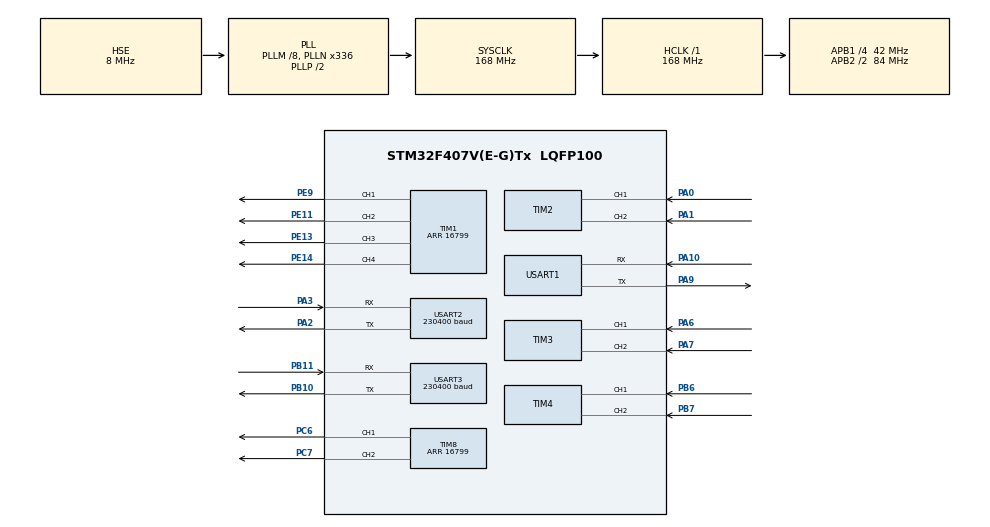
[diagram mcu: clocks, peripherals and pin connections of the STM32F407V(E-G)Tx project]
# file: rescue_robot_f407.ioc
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Dma.Request0=USART2_RX
Dma.Request1=USART3_RX
Dma.USART2_RX.0.Direction=DMA_PERIPH_TO_MEMORY
Dma.USART2_RX.0.FIFOMode=DMA_FIFOMODE_DISABLE
Dma.USART2_RX.0.Instance=DMA1_Stream5
Dma.USART2_RX.0.MemDataAlignment=DMA_MDATAALIGN_BYTE
Dma.USART2_RX.0.MemInc=DMA_MINC_ENABLE
Dma.USART2_RX.0.Mode=DMA_CIRCULAR
Dma.USART2_RX.0.PeriphDataAlignment=DMA_PDATAALIGN_BYTE
Dma.USART2_RX.0.PeriphInc=DMA_PINC_DISABLE
Dma.USART2_RX.0.Priority=DMA_PRIORITY_HIGH
Dma.USART3_RX.1.Direction=DMA_PERIPH_TO_MEMORY
Dma.USART3_RX.1.FIFOMode=DMA_FIFOMODE_DISABLE
Dma.USART3_RX.1.Instance=DMA1_Stream1
Dma.USART3_RX.1.MemDataAlignment=DMA_MDATAALIGN_BYTE
Dma.USART3_RX.1.MemInc=DMA_MINC_ENABLE
Dma.USART3_RX.1.Mode=DMA_CIRCULAR
Dma.USART3_RX.1.PeriphDataAlignment=DMA_PDATAALIGN_BYTE
Dma.USART3_RX.1.PeriphInc=DMA_PINC_DISABLE
Dma.USART3_RX.1.Priority=DMA_PRIORITY_HIGH
Mcu.Family=STM32F4
Mcu.Name=STM32F407V(E-G)Tx
Mcu.Package=LQFP100
NVIC.DMA1_Stream1_IRQn=true\:0\:0\:false\:false\:true\:false\:true\:true
NVIC.DMA1_Stream5_IRQn=true\:0\:0\:false\:false\:true\:false\:true\:true
NVIC.PriorityGroup=NVIC_PRIORITYGROUP_4
NVIC.USART1_IRQn=true\:5\:0\:false\:false\:true\:true\:true\:true
NVIC.USART2_IRQn=true\:0\:0\:false\:false\:true\:true\:true\:true
NVIC.USART3_IRQn=true\:0\:0\:false\:false\:true\:true\:true\:true
PA0-WKUP.Signal=S_TIM2_CH1_ETR
PA1.Signal=S_TIM2_CH2
PA10.Mode=Asynchronous
PA10.Signal=USART1_RX
PA13.Mode=Serial_Wire
PA13.Signal=SYS_JTMS-SWDIO
PA14.Mode=Serial_Wire
PA14.Signal=SYS_JTCK-SWCLK
PA2.Mode=Asynchronous
PA2.Signal=USART2_TX
PA3.Mode=Asynchronous
PA3.Signal=USART2_RX
PA6.Signal=S_TIM3_CH1
PA7.Signal=S_TIM3_CH2
PA9.Mode=Asynchronous
PA9.Signal=USART1_TX
PB10.Mode=Asynchronous
PB10.Signal=USART3_TX
PB11.Mode=Asynchronous
PB11.Signal=USART3_RX
PB6.Signal=S_TIM4_CH1
PB7.Signal=S_TIM4_CH2
PC6.Signal=S_TIM8_CH1
PC7.Signal=S_TIM8_CH2
PE11.Signal=S_TIM1_CH2
PE13.Signal=S_TIM1_CH3
PE14.Signal=S_TIM1_CH4
PE9.Signal=S_TIM1_CH1
PH0-OSC_IN.Mode=HSE-External-Oscillator
PH0-OSC_IN.Signal=RCC_OSC_IN
PH1-OSC_OUT.Mode=HSE-External-Oscillator
PH1-OSC_OUT.Signal=RCC_OSC_OUT
ProjectManager.HeapSize=0x200
ProjectManager.StackSize=0x400
ProjectManager.TargetToolchain=STM32CubeIDE
RCC.48MHZClocksFreq_Value=84000000
RCC.AHBFreq_Value=168000000
RCC.APB1CLKDivider=RCC_HCLK_DIV4
RCC.APB1Freq_Value=42000000
RCC.APB1TimFreq_Value=84000000
RCC.APB2CLKDivider=RCC_HCLK_DIV2
RCC.APB2Freq_Value=84000000
RCC.APB2TimFreq_Value=168000000
RCC.CortexFreq_Value=168000000
RCC.HCLKFreq_Value=168000000
RCC.HSE_VALUE=8000000
RCC.HSI_VALUE=16000000
RCC.LSE_VALUE=32768
RCC.PLLM=8
RCC.PLLN=336
RCC.PLLSourceVirtual=RCC_PLLSOURCE_HSE
RCC.SYSCLKFreq_VALUE=168000000
RCC.SYSCLKSource=RCC_SYSCLKSOURCE_PLLCLK
RCC.VCOOutputFreq_Value=336000000
SH.S_TIM1_CH1.0=TIM1_CH1,PWM Generation1 CH1
SH.S_TIM1_CH2.0=TIM1_CH2,PWM Generation2 CH2
SH.S_TIM1_CH3.0=TIM1_CH3,PWM Generation3 CH3
SH.S_TIM1_CH4.0=TIM1_CH4,PWM Generation4 CH4
SH.S_TIM2_CH1_ETR.0=TIM2_CH1,Encoder_Interface
SH.S_TIM2_CH2.0=TIM2_CH2,Encoder_Interface
SH.S_TIM3_CH1.0=TIM3_CH1,Encoder_Interface
SH.S_TIM3_CH2.0=TIM3_CH2,Encoder_Interface
SH.S_TIM4_CH1.0=TIM4_CH1,Encoder_Interface
SH.S_TIM4_CH2.0=TIM4_CH2,Encoder_Interface
SH.S_TIM8_CH1.0=TIM8_CH1,PWM Generation1 CH1
SH.S_TIM8_CH2.0=TIM8_CH2,PWM Generation2 CH2
TIM1.AutoReloadPreload=TIM_AUTORELOAD_PRELOAD_ENABLE
TIM1.Channel-PWM\ Generation1\ CH1=TIM_CHANNEL_1
TIM1.Channel-PWM\ Generation2\ CH2=TIM_CHANNEL_2
TIM1.Channel-PWM\ Generation3\ CH3=TIM_CHANNEL_3
TIM1.Channel-PWM\ Generation4\ CH4=TIM_CHANNEL_4
TIM1.Period=16799
TIM2.EncoderMode=TIM_ENCODERMODE_TI12
TIM3.EncoderMode=TIM_ENCODERMODE_TI12
TIM4.EncoderMode=TIM_ENCODERMODE_TI12
TIM8.AutoReloadPreload=TIM_AUTORELOAD_PRELOAD_ENABLE
TIM8.Channel-PWM\ Generation1\ CH1=TIM_CHANNEL_1
TIM8.Channel-PWM\ Generation2\ CH2=TIM_CHANNEL_2
TIM8.Period=16799
USART1.VirtualMode=VM_ASYNC
USART2.BaudRate=230400
USART2.VirtualMode=VM_ASYNC
USART3.BaudRate=230400
USART3.VirtualMode=VM_ASYNC
VP_TIM1_VS_ClockSourceINT.Mode=Internal
VP_TIM8_VS_ClockSourceINT.Mode=Internal
board=custom

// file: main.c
/* USER CODE BEGIN Header */
/**
  ******************************************************************************
  * @file           : main.c
  * @brief          : Main program body
  ******************************************************************************
  * @attention
  *
  * Copyright (c) 2026 STMicroelectronics.
  * All rights reserved.
  *
  * This software is licensed under terms that can be found in the LICENSE file
  * in the root directory of this software component.
  * If no LICENSE file comes with this software, it is provided AS-IS.
  *
  ******************************************************************************
  */
/* USER CODE END Header */
#include "main.h"
#include "dma.h"
#include "tim.h"
#include "usart.h"
#include "gpio.h"

/* USER CODE BEGIN Includes */
#include "pi_protocol.h"
#include "stp23l.h"
/* USER CODE END Includes */

/* USER CODE BEGIN PV */
static uint32_t telemetry_tick = 0;
static PiProtocol pi_protocol;
static uint8_t pi_motor_command_active = 0U;
static Stp23l stp_left;
static Stp23l stp_right;

#define STP23L_TELEMETRY_MAX_AGE_MS 300U

/* ST-LINK debugger watch variables. 0xFFFF means invalid or stale. */
volatile uint16_t stp_left_distance_mm = STP23L_INVALID_DISTANCE_MM;
volatile uint16_t stp_right_distance_mm = STP23L_INVALID_DISTANCE_MM;
volatile uint8_t stp_distance_valid_mask = 0U;
volatile uint8_t stp_left_confidence = 0U;
volatile uint8_t stp_right_confidence = 0U;
volatile uint32_t stp_left_frame_count = 0U;
volatile uint32_t stp_right_frame_count = 0U;
volatile uint32_t stp_left_invalid_frame_count = 0U;
volatile uint32_t stp_right_invalid_frame_count = 0U;
volatile uint32_t stp_left_uart_error_count = 0U;
volatile uint32_t stp_right_uart_error_count = 0U;
/* USER CODE END PV */

void SystemClock_Config(void);

/* USER CODE BEGIN 0 */
#define MOTOR_MAX_CMD 1000

/**
 * Command range: -1000 to 1000.
 * Positive drives forward, negative drives backward, zero stops.
 */
static void Motor_WritePair(TIM_HandleTypeDef *htim,
                            uint32_t channel_a,
                            uint32_t channel_b,
                            int16_t command)
{
    uint32_t pulse;
    uint32_t arr = __HAL_TIM_GET_AUTORELOAD(htim);

    if (command > MOTOR_MAX_CMD)
        command = MOTOR_MAX_CMD;
    else if (command < -MOTOR_MAX_CMD)
        command = -MOTOR_MAX_CMD;

    if (command > 0)
    {
        pulse = ((uint32_t)command * arr) / MOTOR_MAX_CMD;

        __HAL_TIM_SET_COMPARE(htim, channel_a, pulse);
        __HAL_TIM_SET_COMPARE(htim, channel_b, 0);
    }
    else if (command < 0)
    {
        pulse = ((uint32_t)(-command) * arr) / MOTOR_MAX_CMD;

        __HAL_TIM_SET_COMPARE(htim, channel_a, 0);
        __HAL_TIM_SET_COMPARE(htim, channel_b, pulse);
    }
    else
    {
        /* Set both bridge inputs to zero to stop the motor. */
        __HAL_TIM_SET_COMPARE(htim, channel_a, 0);
        __HAL_TIM_SET_COMPARE(htim, channel_b, 0);
    }
}

static void Motor_Set(uint8_t motor_id, int16_t command)
{
    switch (motor_id)
    {
        case 1:
            Motor_WritePair(&htim1,
                            TIM_CHANNEL_1,
                            TIM_CHANNEL_2,
                            command);
            break;

        case 2:
            Motor_WritePair(&htim1,
                            TIM_CHANNEL_3,
                            TIM_CHANNEL_4,
                            command);
            break;

        case 3:
            Motor_WritePair(&htim8,
                            TIM_CHANNEL_1,
                            TIM_CHANNEL_2,
                            command);
            break;

        default:
            break;
    }
}

static void Motor_StopAll(void)
{
    Motor_Set(1, 0);
    Motor_Set(2, 0);
    Motor_Set(3, 0);
}

/* Encoder debug values visible in the debugger. */
volatile int32_t encoder_delta_1 = 0;
volatile int32_t encoder_delta_2 = 0;
volatile int32_t encoder_delta_3 = 0;

static uint32_t encoder_last_1 = 0;
static uint16_t encoder_last_2 = 0;
static uint16_t encoder_last_3 = 0;
static uint32_t encoder_sample_tick = 0;

static void Encoder_Update(void)
{
    uint32_t now_1;
    uint16_t now_2;
    uint16_t now_3;

    /* TIM2 is a 32-bit timer. */
    now_1 = __HAL_TIM_GET_COUNTER(&htim2);
    encoder_delta_1 = (int32_t)(now_1 - encoder_last_1);
    encoder_last_1 = now_1;

    /* The int16_t conversion handles TIM3/TIM4 16-bit wraparound. */
    now_2 = (uint16_t)__HAL_TIM_GET_COUNTER(&htim3);
    encoder_delta_2 = (int16_t)(now_2 - encoder_last_2);
    encoder_last_2 = now_2;

    now_3 = (uint16_t)__HAL_TIM_GET_COUNTER(&htim4);
    encoder_delta_3 = (int16_t)(now_3 - encoder_last_3);
    encoder_last_3 = now_3;
}
/* USER CODE END 0 */

int main(void)
{

  /* MCU Configuration--------------------------------------------------------*/

  /* Reset of all peripherals, Initializes the Flash interface and the Systick. */
  HAL_Init();

  /* Configure the system clock */
  SystemClock_Config();

  /* Initialize all configured peripherals */
  MX_GPIO_Init();
  MX_DMA_Init();
  MX_TIM1_Init();
  MX_TIM2_Init();
  MX_TIM3_Init();
  MX_TIM4_Init();
  MX_TIM8_Init();
  MX_USART1_UART_Init();
  MX_USART2_UART_Init();
  MX_USART3_UART_Init();
  /* USER CODE BEGIN 2 */
  /* Keep all PWM outputs at zero to prevent movement at power-up. */
  __HAL_TIM_SET_COMPARE(&htim1, TIM_CHANNEL_1, 0);
  __HAL_TIM_SET_COMPARE(&htim1, TIM_CHANNEL_2, 0);
  __HAL_TIM_SET_COMPARE(&htim1, TIM_CHANNEL_3, 0);
  __HAL_TIM_SET_COMPARE(&htim1, TIM_CHANNEL_4, 0);
  __HAL_TIM_SET_COMPARE(&htim8, TIM_CHANNEL_1, 0);
  __HAL_TIM_SET_COMPARE(&htim8, TIM_CHANNEL_2, 0);

  /* Start six PWM channels. */
  HAL_TIM_PWM_Start(&htim1, TIM_CHANNEL_1);
  HAL_TIM_PWM_Start(&htim1, TIM_CHANNEL_2);
  HAL_TIM_PWM_Start(&htim1, TIM_CHANNEL_3);
  HAL_TIM_PWM_Start(&htim1, TIM_CHANNEL_4);
  HAL_TIM_PWM_Start(&htim8, TIM_CHANNEL_1);
  HAL_TIM_PWM_Start(&htim8, TIM_CHANNEL_2);
  /* Start three encoder interfaces. */
  HAL_TIM_Encoder_Start(&htim2, TIM_CHANNEL_ALL);
  HAL_TIM_Encoder_Start(&htim3, TIM_CHANNEL_ALL);
  HAL_TIM_Encoder_Start(&htim4, TIM_CHANNEL_ALL);

  Motor_StopAll();

  encoder_last_1 = __HAL_TIM_GET_COUNTER(&htim2);
  encoder_last_2 = (uint16_t)__HAL_TIM_GET_COUNTER(&htim3);
  encoder_last_3 = (uint16_t)__HAL_TIM_GET_COUNTER(&htim4);
  encoder_sample_tick = HAL_GetTick();
  PiProtocol_Init(&pi_protocol, &huart1);
  if (PiProtocol_Start(&pi_protocol) != HAL_OK)
  {
      Error_Handler();
  }
  Stp23l_Init(&stp_left, &huart2);
  Stp23l_Init(&stp_right, &huart3);
  if (Stp23l_Start(&stp_left) != HAL_OK)
  {
      Error_Handler();
  }
  if (Stp23l_Start(&stp_right) != HAL_OK)
  {
      Error_Handler();
  }
  /* USER CODE END 2 */

  /* Infinite loop */
  while (1)
  {

    /* USER CODE BEGIN 3 */
	  {
	      uint32_t now_ms = HAL_GetTick();
	      uint8_t valid_mask = 0U;
	      uint16_t left_distance = STP23L_INVALID_DISTANCE_MM;
	      uint16_t right_distance = STP23L_INVALID_DISTANCE_MM;

	      Stp23l_Service(&stp_left);
	      Stp23l_Service(&stp_right);
	      if (
	          Stp23l_GetDistance(
	              &stp_left,
	              now_ms,
	              STP23L_TELEMETRY_MAX_AGE_MS,
	              &left_distance
	          ) != 0U
	      )
	      {
	          valid_mask |= 0x01U;
	      }
	      if (
	          Stp23l_GetDistance(
	              &stp_right,
	              now_ms,
	              STP23L_TELEMETRY_MAX_AGE_MS,
	              &right_distance
	          ) != 0U
	      )
	      {
	          valid_mask |= 0x02U;
	      }
	      stp_left_distance_mm = left_distance;
	      stp_right_distance_mm = right_distance;
	      stp_distance_valid_mask = valid_mask;
	      stp_left_confidence = stp_left.confidence;
	      stp_right_confidence = stp_right.confidence;
	      stp_left_frame_count = stp_left.frame_count;
	      stp_right_frame_count = stp_right.frame_count;
	      stp_left_invalid_frame_count = stp_left.invalid_frame_count;
	      stp_right_invalid_frame_count = stp_right.invalid_frame_count;
	      stp_left_uart_error_count = stp_left.uart_error_count;
	      stp_right_uart_error_count = stp_right.uart_error_count;
	  }
	  if ((HAL_GetTick() - encoder_sample_tick) >= 10)
	  	  {
	  	      encoder_sample_tick = HAL_GetTick();
	  	      Encoder_Update();
	  	  }
      {
          PiMotorCommand command;
          if (PiProtocol_TakeMotorCommand(&pi_protocol, &command) != 0U)
          {
              Motor_Set(1, command.motor_1);
              Motor_Set(2, command.motor_2);
              Motor_Set(3, command.motor_3);
              pi_motor_command_active =
                  ((command.motor_1 != 0) ||
                   (command.motor_2 != 0) ||
                   (command.motor_3 != 0)) ? 1U : 0U;
          }

          if (
              (pi_motor_command_active != 0U) &&
              (PiProtocol_IsMotorCommandExpired(
                  &pi_protocol,
                  HAL_GetTick()
              ) != 0U)
          )
          {
              Motor_StopAll();
              pi_motor_command_active = 0U;
          }
      }
	  if ((HAL_GetTick() - telemetry_tick) >= 100)
	  {
	      telemetry_tick = HAL_GetTick();
          (void)PiProtocol_SendEncoderTelemetry(
              &pi_protocol,
              encoder_delta_1,
              encoder_delta_2,
              encoder_delta_3
          );
          (void)PiProtocol_SendDistanceTelemetry(
              &pi_protocol,
              stp_left_distance_mm,
              stp_right_distance_mm,
              stp_distance_valid_mask
          );
	  }
  }
  /* USER CODE END 3 */
}

void SystemClock_Config(void)
{
  RCC_OscInitTypeDef RCC_OscInitStruct = {0};
  RCC_ClkInitTypeDef RCC_ClkInitStruct = {0};

  /** Configure the main internal regulator output voltage
  */
  __HAL_RCC_PWR_CLK_ENABLE();
  __HAL_PWR_VOLTAGESCALING_CONFIG(PWR_REGULATOR_VOLTAGE_SCALE1);

  /** Initializes the RCC Oscillators according to the specified parameters
  * in the RCC_OscInitTypeDef structure.
  */
  RCC_OscInitStruct.OscillatorType = RCC_OSCILLATORTYPE_HSE;
  RCC_OscInitStruct.HSEState = RCC_HSE_ON;
  RCC_OscInitStruct.PLL.PLLState = RCC_PLL_ON;
  RCC_OscInitStruct.PLL.PLLSource = RCC_PLLSOURCE_HSE;
  RCC_OscInitStruct.PLL.PLLM = 8;
  RCC_OscInitStruct.PLL.PLLN = 336;
  RCC_OscInitStruct.PLL.PLLP = RCC_PLLP_DIV2;
  RCC_OscInitStruct.PLL.PLLQ = 4;
  if (HAL_RCC_OscConfig(&RCC_OscInitStruct) != HAL_OK)
  {
    Error_Handler();
  }

  /** Initializes the CPU, AHB and APB buses clocks
  */
  RCC_ClkInitStruct.ClockType = RCC_CLOCKTYPE_HCLK|RCC_CLOCKTYPE_SYSCLK
                              |RCC_CLOCKTYPE_PCLK1|RCC_CLOCKTYPE_PCLK2;
  RCC_ClkInitStruct.SYSCLKSource = RCC_SYSCLKSOURCE_PLLCLK;
  RCC_ClkInitStruct.AHBCLKDivider = RCC_SYSCLK_DIV1;
  RCC_ClkInitStruct.APB1CLKDivider = RCC_HCLK_DIV4;
  RCC_ClkInitStruct.APB2CLKDivider = RCC_HCLK_DIV2;

  if (HAL_RCC_ClockConfig(&RCC_ClkInitStruct, FLASH_LATENCY_5) != HAL_OK)
  {
    Error_Handler();
  }
}

/* USER CODE BEGIN 4 */
void HAL_UART_RxCpltCallback(UART_HandleTypeDef *huart)
{
    if (huart == &huart1)
    {
        PiProtocol_OnRxComplete(&pi_protocol, huart);
    }
    else
    {
        Stp23l_OnRxComplete(&stp_left, huart);
        Stp23l_OnRxComplete(&stp_right, huart);
    }
}

void HAL_UART_RxHalfCpltCallback(UART_HandleTypeDef *huart)
{
    Stp23l_OnRxHalfComplete(&stp_left, huart);
    Stp23l_OnRxHalfComplete(&stp_right, huart);
}

void HAL_UART_ErrorCallback(UART_HandleTypeDef *huart)
{
    if (huart == &huart1)
    {
        PiProtocol_OnUartError(&pi_protocol, huart);
    }
    else
    {
        Stp23l_OnUartError(&stp_left, huart);
        Stp23l_OnUartError(&stp_right, huart);
    }
}

/* USER CODE END 4 */

void Error_Handler(void)
{
  __disable_irq();
  while (1)
  {
  }
}
